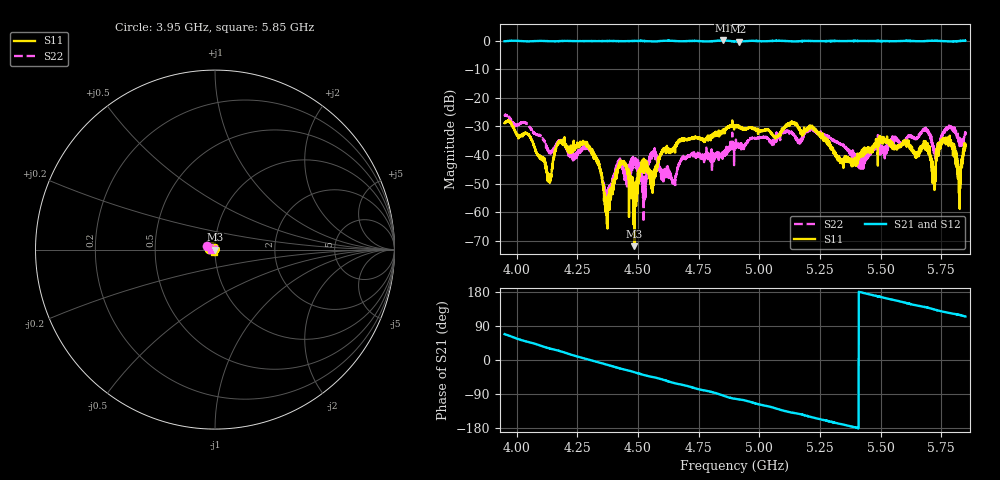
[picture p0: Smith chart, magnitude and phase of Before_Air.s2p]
# GHZ S RI R 50.000000000000
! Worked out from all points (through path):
!   4501 points, 3.95 GHz to 5.85 GHz, reference 50 ohm
!   highest |S21| = 0.13 dB at 4.851 GHz (marker M1); lowest = -0.3 dB at 4.915 GHz (marker M2)
!   group delay of S21, straight-line fit = 452 ps
!   lowest |S11| = -72.0 dB at 4.485 GHz (marker M3), VSWR 1.00, Z = 50 + j0.024 ohm
!   |S11| at or under -10 dB: start of sweep to end of sweep
!   |S22| runs from -63.6 to -25.9 dB; largest |S21 - S12| = 0.036
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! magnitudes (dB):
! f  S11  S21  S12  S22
! 3.95 GHz  -28.8  -0.2  -0.2  -26.5
! 4.134 GHz  -49.0  -0.1  -0.1  -39.0
! 4.174 GHz  -35.4  -0.1  -0.1  -35.4
! 4.267 GHz  -36.3  -0.1  -0.1  -38.1
! 4.333 GHz  -43.0  -0.1  -0.1  -42.4
! 4.371 GHz  -61.1  -0.1  -0.1  -52.0
! 4.433 GHz  -43.2  -0.1  -0.1  -43.6
! 4.485 GHz  -72.0  -0.1  0.0  -43.2
! 4.525 GHz  -44.0  -0.1  -0.1  -51.3
! 4.584 GHz  -42.8  -0.1  -0.2  -42.3
! 4.646 GHz  -37.8  0.0  0.0  -50.2
! 4.851 GHz  -32.4  0.1  0.1  -39.0
! 4.9 GHz  -30.0  -0.2  -0.2  -35.9
! 4.915 GHz  -30.3  -0.3  -0.2  -36.9
! 5.217 GHz  -30.3  -0.1  -0.1  -31.2
! 5.342 GHz  -42.7  -0.1  -0.1  -36.5
! 5.534 GHz  -34.9  -0.1  -0.1  -36.1
! 5.687 GHz  -37.8  -0.1  -0.1  -31.4
! 5.719 GHz  -46.2  0.0  0.0  -36.9
! 5.76 GHz  -35.6  -0.1  -0.2  -32.3
! 5.826 GHz  -46.2  -0.1  -0.1  -34.7
! 5.85 GHz  -36.7  0.0  0.0  -33.0
